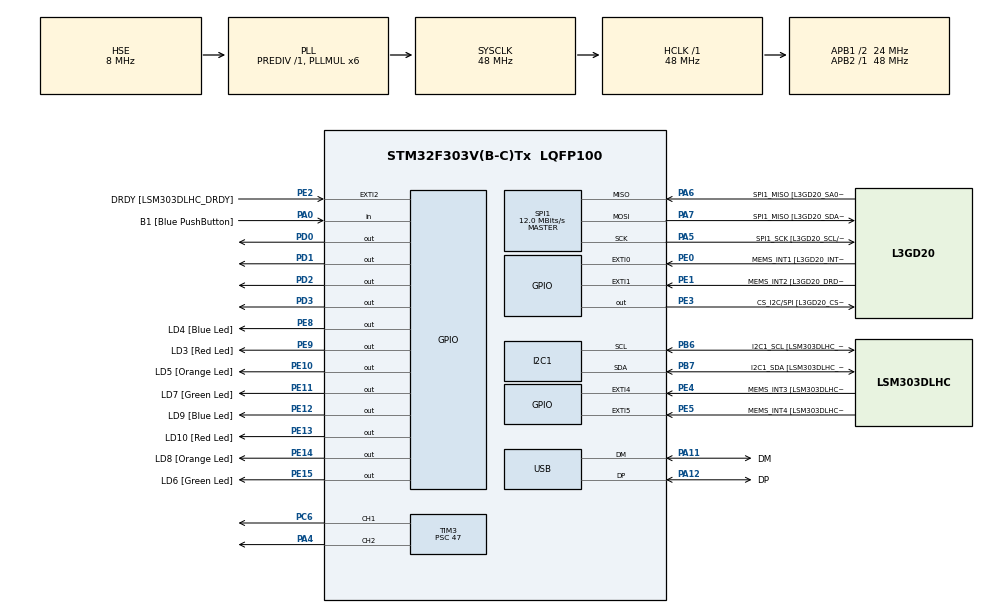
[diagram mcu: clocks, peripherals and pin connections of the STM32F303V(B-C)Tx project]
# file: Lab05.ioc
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I2C1.Timing=0x2000090E
I2C1.Timing-I2C=0x2000090E
Mcu.Family=STM32F3
Mcu.Name=STM32F303V(B-C)Tx
Mcu.Package=LQFP100
NVIC.PriorityGroup=NVIC_PRIORITYGROUP_0
PA0.GPIO_Label=B1 [Blue PushButton]
PA0.Signal=GPIO_Input
PA11.GPIO_Label=DM
PA11.Mode=Device
PA11.Signal=USB_DM
PA12.GPIO_Label=DP
PA12.Mode=Device
PA12.Signal=USB_DP
PA13.GPIO_Label=SWDIO
PA13.Mode=Serial_Wire
PA13.Signal=SYS_JTMS-SWDIO
PA14.GPIO_Label=SWCLK
PA14.Mode=Serial_Wire
PA14.Signal=SYS_JTCK-SWCLK
PA2.Signal=USART2_TX
PA3.Signal=USART2_RX
PA4.Signal=S_TIM3_CH2
PA5.GPIO_Label=SPI1_SCK [L3GD20_SCL/SPC]
PA5.Mode=Full_Duplex_Master
PA5.Signal=SPI1_SCK
PA6.GPIO_Label=SPI1_MISO [L3GD20_SA0/SDO]
PA6.Mode=Full_Duplex_Master
PA6.Signal=SPI1_MISO
PA7.GPIO_Label=SPI1_MISO [L3GD20_SDA/SDI/SDO]
PA7.Mode=Full_Duplex_Master
PA7.Signal=SPI1_MOSI
PB3.GPIO_Label=SWO
PB3.Signal=SYS_JTDO-TRACESWO
PB6.GPIO_Label=I2C1_SCL [LSM303DLHC_SCL]
PB6.GPIO_Pu=GPIO_PULLUP
PB6.Mode=I2C
PB6.Signal=I2C1_SCL
PB7.GPIO_Label=I2C1_SDA [LSM303DLHC_SDA]
PB7.GPIO_Pu=GPIO_PULLUP
PB7.Mode=I2C
PB7.Signal=I2C1_SDA
PC14-OSC32_IN.GPIO_Label=OSC32_IN
PC14-OSC32_IN.Signal=RCC_OSC32_IN
PC15-OSC32_OUT.GPIO_Label=OSC32_OUT
PC15-OSC32_OUT.Signal=RCC_OSC32_OUT
PC6.Signal=S_TIM3_CH1
PD0.Signal=GPIO_Output
PD1.Signal=GPIO_Output
PD2.Signal=GPIO_Output
PD3.Signal=GPIO_Output
PE0.GPIO_Label=MEMS_INT1 [L3GD20_INT1]
PE0.GPIO_ModeDefaultEXTI=GPIO_MODE_EVT_RISING
PE0.Signal=GPXTI0
PE1.GPIO_Label=MEMS_INT2 [L3GD20_DRDY/INT2]
PE1.GPIO_ModeDefaultEXTI=GPIO_MODE_EVT_RISING
PE1.Signal=GPXTI1
PE10.GPIO_Label=LD5 [Orange Led]
PE10.Signal=GPIO_Output
PE11.GPIO_Label=LD7 [Green Led]
PE11.Signal=GPIO_Output
PE12.GPIO_Label=LD9 [Blue Led]
PE12.Signal=GPIO_Output
PE13.GPIO_Label=LD10 [Red Led]
PE13.Signal=GPIO_Output
PE14.GPIO_Label=LD8 [Orange Led]
PE14.Signal=GPIO_Output
PE15.GPIO_Label=LD6 [Green Led]
PE15.Signal=GPIO_Output
PE2.GPIO_Label=DRDY [LSM303DLHC_DRDY]
PE2.GPIO_ModeDefaultEXTI=GPIO_MODE_EVT_RISING
PE2.Signal=GPXTI2
PE3.GPIO_Label=CS_I2C/SPI [L3GD20_CS_I2C/SPI]
PE3.Signal=GPIO_Output
PE4.GPIO_Label=MEMS_INT3 [LSM303DLHC_INT1]
PE4.GPIO_ModeDefaultEXTI=GPIO_MODE_EVT_RISING
PE4.Signal=GPXTI4
PE5.GPIO_Label=MEMS_INT4 [LSM303DLHC_INT2]
PE5.GPIO_ModeDefaultEXTI=GPIO_MODE_EVT_RISING
PE5.Signal=GPXTI5
PE8.GPIO_Label=LD4 [Blue Led]
PE8.Signal=GPIO_Output
PE9.GPIO_Label=LD3 [Red Led]
PE9.Signal=GPIO_Output
PF0-OSC_IN.GPIO_Label=OSC_IN
PF0-OSC_IN.Mode=HSE-External-Clock-Source
PF0-OSC_IN.Signal=RCC_OSC_IN
PF1-OSC_OUT.GPIO_Label=OSC_OUT
PF1-OSC_OUT.Signal=RCC_OSC_OUT
ProjectManager.HeapSize=0x200
ProjectManager.StackSize=0x400
ProjectManager.TargetToolchain=CMake
RCC.AHBFreq_Value=48000000
RCC.APB1CLKDivider=RCC_HCLK_DIV2
RCC.APB1Freq_Value=24000000
RCC.APB1TimFreq_Value=48000000
RCC.APB2Freq_Value=48000000
RCC.APB2TimFreq_Value=48000000
RCC.CortexFreq_Value=48000000
RCC.HCLKFreq_Value=48000000
RCC.HSE_VALUE=8000000
RCC.HSI_VALUE=8000000
RCC.LSE_VALUE=32768
RCC.PLLMUL=RCC_PLL_MUL6
RCC.SYSCLKFreq_VALUE=48000000
RCC.SYSCLKSourceVirtual=RCC_SYSCLKSOURCE_PLLCLK
RCC.USBFreq_Value=48000000
SH.S_TIM3_CH1.0=TIM3_CH1,PWM Generation1 CH1
SH.S_TIM3_CH2.0=TIM3_CH2,PWM Generation2 CH2
SPI1.BaudRatePrescaler=SPI_BAUDRATEPRESCALER_4
SPI1.BaudRatePrescaler-Full_Duplex_Master=SPI_BAUDRATEPRESCALER_2
SPI1.CalculateBaudRate=12.0 MBits/s
SPI1.CalculateBaudRate-Full_Duplex_Master=24.0 MBits/s
SPI1.Direction=SPI_DIRECTION_2LINES
SPI1.Mode=SPI_MODE_MASTER
SPI1.Mode-Full_Duplex_Master=SPI_MODE_MASTER
SPI1.VirtualType=VM_MASTER
TIM3.Channel-PWM\ Generation1\ CH1=TIM_CHANNEL_1
TIM3.Channel-PWM\ Generation2\ CH2=TIM_CHANNEL_2
TIM3.Period=999
TIM3.Prescaler=47
TIM3.Pulse-PWM\ Generation1\ CH1=500
board=STM32F3DISCOVERY

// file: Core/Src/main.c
/* USER CODE BEGIN Header */
/**
  ******************************************************************************
  * @file           : main.c
  * @brief          : Motor Control with PWM Speed Control
  ******************************************************************************
  * @attention
  *
  * Copyright (c) 2026 STMicroelectronics.
  * All rights reserved.
  *
  * Motor Shield Connections:
  * D10 (PC6)  - PWM Speed Control (TIM3_CH1)
  * D8  (PD0)  - Direction Pin 1 (HIGH for forward)
  * D12 (PD1)  - Direction Pin 2 (LOW for forward)
  *
  ******************************************************************************
  */
/* USER CODE END Header */
#include "main.h"

I2C_HandleTypeDef hi2c1;

SPI_HandleTypeDef hspi1;

TIM_HandleTypeDef htim3;

PCD_HandleTypeDef hpcd_USB_FS;

void SystemClock_Config(void);
static void MX_GPIO_Init(void);
static void MX_I2C1_Init(void);
static void MX_SPI1_Init(void);
static void MX_TIM3_Init(void);
static void MX_USB_PCD_Init(void);

int main(void)
{

  /* MCU Configuration--------------------------------------------------------*/

  /* Reset of all peripherals, Initializes the Flash interface and the Systick. */
  HAL_Init();

  /* Configure the system clock */
  SystemClock_Config();

  /* Initialize all configured peripherals */
  MX_GPIO_Init();
  MX_I2C1_Init();
  MX_SPI1_Init();
  MX_TIM3_Init();
  MX_USB_PCD_Init();
  /* USER CODE BEGIN 2 */

  HAL_TIM_PWM_Start(&htim3, TIM_CHANNEL_1);

  HAL_GPIO_WritePin(GPIOD, GPIO_PIN_0, GPIO_PIN_SET);    // D8 (PD0) = HIGH
  HAL_GPIO_WritePin(GPIOD, GPIO_PIN_1, GPIO_PIN_RESET);  // D12 (PD1) = LOW

  /* USER CODE END 2 */

  /* Infinite loop */
  while (1)
  {

    /* USER CODE BEGIN 3 */
    //Task 1
    for (uint16_t brightness = 0; brightness <= 999; brightness++)
    {
      __HAL_TIM_SET_COMPARE(&htim3, TIM_CHANNEL_1, brightness);
      HAL_Delay(2);
    }
    for (uint16_t brightness = 999; brightness > 0; brightness--)
    {
      __HAL_TIM_SET_COMPARE(&htim3, TIM_CHANNEL_1, brightness);
      HAL_Delay(2);
    }

    //Task 2
    for (uint16_t speed = 0; speed <= 999; speed++)
    {
      __HAL_TIM_SET_COMPARE(&htim3, TIM_CHANNEL_1, speed);
      HAL_Delay(2);
    }
    HAL_Delay(2000);
    for (uint16_t speed = 999; speed > 0; speed--)
    {
      __HAL_TIM_SET_COMPARE(&htim3, TIM_CHANNEL_1, speed);
      HAL_Delay(2);
    }

    HAL_Delay(1000);

  }
  /* USER CODE END 3 */
}

void SystemClock_Config(void)
{
  RCC_OscInitTypeDef RCC_OscInitStruct = {0};
  RCC_ClkInitTypeDef RCC_ClkInitStruct = {0};
  RCC_PeriphCLKInitTypeDef PeriphClkInit = {0};

  /** Initializes the RCC Oscillators according to the specified parameters
  * in the RCC_OscInitTypeDef structure.
  */
  RCC_OscInitStruct.OscillatorType = RCC_OSCILLATORTYPE_HSI|RCC_OSCILLATORTYPE_HSE;
  RCC_OscInitStruct.HSEState = RCC_HSE_BYPASS;
  RCC_OscInitStruct.HSEPredivValue = RCC_HSE_PREDIV_DIV1;
  RCC_OscInitStruct.HSIState = RCC_HSI_ON;
  RCC_OscInitStruct.HSICalibrationValue = RCC_HSICALIBRATION_DEFAULT;
  RCC_OscInitStruct.PLL.PLLState = RCC_PLL_ON;
  RCC_OscInitStruct.PLL.PLLSource = RCC_PLLSOURCE_HSE;
  RCC_OscInitStruct.PLL.PLLMUL = RCC_PLL_MUL6;
  if (HAL_RCC_OscConfig(&RCC_OscInitStruct) != HAL_OK)
  {
    Error_Handler();
  }

  /** Initializes the CPU, AHB and APB buses clocks
  */
  RCC_ClkInitStruct.ClockType = RCC_CLOCKTYPE_HCLK|RCC_CLOCKTYPE_SYSCLK
                              |RCC_CLOCKTYPE_PCLK1|RCC_CLOCKTYPE_PCLK2;
  RCC_ClkInitStruct.SYSCLKSource = RCC_SYSCLKSOURCE_PLLCLK;
  RCC_ClkInitStruct.AHBCLKDivider = RCC_SYSCLK_DIV1;
  RCC_ClkInitStruct.APB1CLKDivider = RCC_HCLK_DIV2;
  RCC_ClkInitStruct.APB2CLKDivider = RCC_HCLK_DIV1;

  if (HAL_RCC_ClockConfig(&RCC_ClkInitStruct, FLASH_LATENCY_1) != HAL_OK)
  {
    Error_Handler();
  }
  PeriphClkInit.PeriphClockSelection = RCC_PERIPHCLK_USB|RCC_PERIPHCLK_I2C1;
  PeriphClkInit.I2c1ClockSelection = RCC_I2C1CLKSOURCE_HSI;
  PeriphClkInit.USBClockSelection = RCC_USBCLKSOURCE_PLL;
  if (HAL_RCCEx_PeriphCLKConfig(&PeriphClkInit) != HAL_OK)
  {
    Error_Handler();
  }
}

static void MX_I2C1_Init(void)
{

  hi2c1.Instance = I2C1;
  hi2c1.Init.Timing = 0x2000090E;
  hi2c1.Init.OwnAddress1 = 0;
  hi2c1.Init.AddressingMode = I2C_ADDRESSINGMODE_7BIT;
  hi2c1.Init.DualAddressMode = I2C_DUALADDRESS_DISABLE;
  hi2c1.Init.OwnAddress2 = 0;
  hi2c1.Init.OwnAddress2Masks = I2C_OA2_NOMASK;
  hi2c1.Init.GeneralCallMode = I2C_GENERALCALL_DISABLE;
  hi2c1.Init.NoStretchMode = I2C_NOSTRETCH_DISABLE;
  if (HAL_I2C_Init(&hi2c1) != HAL_OK)
  {
    Error_Handler();
  }

  /** Configure Analogue filter
  */
  if (HAL_I2CEx_ConfigAnalogFilter(&hi2c1, I2C_ANALOGFILTER_ENABLE) != HAL_OK)
  {
    Error_Handler();
  }

  /** Configure Digital filter
  */
  if (HAL_I2CEx_ConfigDigitalFilter(&hi2c1, 0) != HAL_OK)
  {
    Error_Handler();
  }

}

static void MX_SPI1_Init(void)
{

  /* SPI1 parameter configuration*/
  hspi1.Instance = SPI1;
  hspi1.Init.Mode = SPI_MODE_MASTER;
  hspi1.Init.Direction = SPI_DIRECTION_2LINES;
  hspi1.Init.DataSize = SPI_DATASIZE_4BIT;
  hspi1.Init.CLKPolarity = SPI_POLARITY_LOW;
  hspi1.Init.CLKPhase = SPI_PHASE_1EDGE;
  hspi1.Init.NSS = SPI_NSS_SOFT;
  hspi1.Init.BaudRatePrescaler = SPI_BAUDRATEPRESCALER_4;
  hspi1.Init.FirstBit = SPI_FIRSTBIT_MSB;
  hspi1.Init.TIMode = SPI_TIMODE_DISABLE;
  hspi1.Init.CRCCalculation = SPI_CRCCALCULATION_DISABLE;
  hspi1.Init.CRCPolynomial = 7;
  hspi1.Init.CRCLength = SPI_CRC_LENGTH_DATASIZE;
  hspi1.Init.NSSPMode = SPI_NSS_PULSE_ENABLE;
  if (HAL_SPI_Init(&hspi1) != HAL_OK)
  {
    Error_Handler();
  }

}

static void MX_TIM3_Init(void)
{

  TIM_MasterConfigTypeDef sMasterConfig = {0};
  TIM_OC_InitTypeDef sConfigOC = {0};

  htim3.Instance = TIM3;
  htim3.Init.Prescaler = 47;
  htim3.Init.CounterMode = TIM_COUNTERMODE_UP;
  htim3.Init.Period = 999;
  htim3.Init.ClockDivision = TIM_CLOCKDIVISION_DIV1;
  htim3.Init.AutoReloadPreload = TIM_AUTORELOAD_PRELOAD_DISABLE;
  if (HAL_TIM_PWM_Init(&htim3) != HAL_OK)
  {
    Error_Handler();
  }
  sMasterConfig.MasterOutputTrigger = TIM_TRGO_RESET;
  sMasterConfig.MasterSlaveMode = TIM_MASTERSLAVEMODE_DISABLE;
  if (HAL_TIMEx_MasterConfigSynchronization(&htim3, &sMasterConfig) != HAL_OK)
  {
    Error_Handler();
  }
  sConfigOC.OCMode = TIM_OCMODE_PWM1;
  sConfigOC.Pulse = 500;
  sConfigOC.OCPolarity = TIM_OCPOLARITY_HIGH;
  sConfigOC.OCFastMode = TIM_OCFAST_DISABLE;
  if (HAL_TIM_PWM_ConfigChannel(&htim3, &sConfigOC, TIM_CHANNEL_1) != HAL_OK)
  {
    Error_Handler();
  }
  HAL_TIM_MspPostInit(&htim3);

}

static void MX_USB_PCD_Init(void)
{

  hpcd_USB_FS.Instance = USB;
  hpcd_USB_FS.Init.dev_endpoints = 8;
  hpcd_USB_FS.Init.speed = PCD_SPEED_FULL;
  hpcd_USB_FS.Init.phy_itface = PCD_PHY_EMBEDDED;
  hpcd_USB_FS.Init.low_power_enable = DISABLE;
  hpcd_USB_FS.Init.battery_charging_enable = DISABLE;
  if (HAL_PCD_Init(&hpcd_USB_FS) != HAL_OK)
  {
    Error_Handler();
  }

}

static void MX_GPIO_Init(void)
{
  GPIO_InitTypeDef GPIO_InitStruct = {0};

  /* GPIO Ports Clock Enable */
  __HAL_RCC_GPIOE_CLK_ENABLE();
  __HAL_RCC_GPIOC_CLK_ENABLE();
  __HAL_RCC_GPIOF_CLK_ENABLE();
  __HAL_RCC_GPIOA_CLK_ENABLE();
  __HAL_RCC_GPIOB_CLK_ENABLE();
  __HAL_RCC_GPIOD_CLK_ENABLE();  // Enable GPIOD for motor direction pins

  /*Configure GPIO pin Output Level */
  HAL_GPIO_WritePin(GPIOE, CS_I2C_SPI_Pin|LD4_Pin|LD3_Pin|LD5_Pin
                          |LD7_Pin|LD9_Pin|LD10_Pin|LD8_Pin
                          |LD6_Pin, GPIO_PIN_RESET);

  /*Configure GPIO pin Output Level for Motor Direction Pins */
  HAL_GPIO_WritePin(GPIOD, GPIO_PIN_0|GPIO_PIN_1, GPIO_PIN_RESET);

  /*Configure GPIO pins : DRDY_Pin MEMS_INT3_Pin MEMS_INT4_Pin MEMS_INT1_Pin
                           MEMS_INT2_Pin */
  GPIO_InitStruct.Pin = DRDY_Pin|MEMS_INT3_Pin|MEMS_INT4_Pin|MEMS_INT1_Pin
                          |MEMS_INT2_Pin;
  GPIO_InitStruct.Mode = GPIO_MODE_EVT_RISING;
  GPIO_InitStruct.Pull = GPIO_NOPULL;
  HAL_GPIO_Init(GPIOE, &GPIO_InitStruct);

  /*Configure GPIO pins : CS_I2C_SPI_Pin LD4_Pin LD3_Pin LD5_Pin
                           LD7_Pin LD9_Pin LD10_Pin LD8_Pin
                           LD6_Pin */
  GPIO_InitStruct.Pin = CS_I2C_SPI_Pin|LD4_Pin|LD3_Pin|LD5_Pin
                          |LD7_Pin|LD9_Pin|LD10_Pin|LD8_Pin
                          |LD6_Pin;
  GPIO_InitStruct.Mode = GPIO_MODE_OUTPUT_PP;
  GPIO_InitStruct.Pull = GPIO_NOPULL;
  GPIO_InitStruct.Speed = GPIO_SPEED_FREQ_LOW;
  HAL_GPIO_Init(GPIOE, &GPIO_InitStruct);

  /*Configure GPIO pin : B1_Pin */
  GPIO_InitStruct.Pin = B1_Pin;
  GPIO_InitStruct.Mode = GPIO_MODE_INPUT;
  GPIO_InitStruct.Pull = GPIO_NOPULL;
  HAL_GPIO_Init(B1_GPIO_Port, &GPIO_InitStruct);

  /*Configure GPIO pins : PD0 PD1 (Motor Direction Control) */
  GPIO_InitStruct.Pin = GPIO_PIN_0|GPIO_PIN_1;
  GPIO_InitStruct.Mode = GPIO_MODE_OUTPUT_PP;
  GPIO_InitStruct.Pull = GPIO_NOPULL;
  GPIO_InitStruct.Speed = GPIO_SPEED_FREQ_LOW;
  HAL_GPIO_Init(GPIOD, &GPIO_InitStruct);

}

void Error_Handler(void)
{
  __disable_irq();
  while (1)
  {
  }
}
